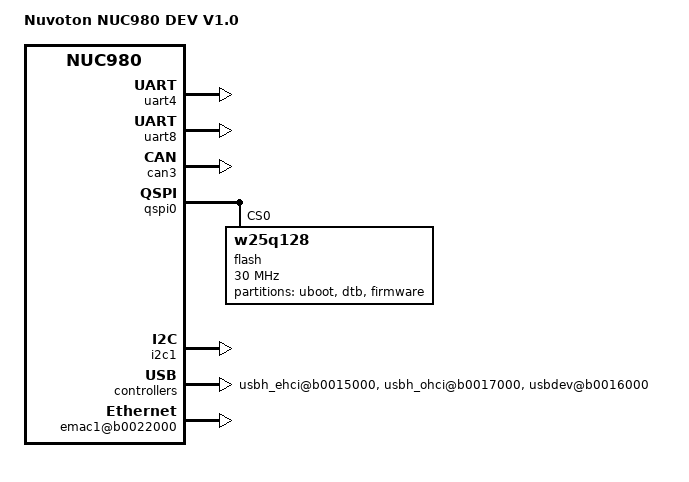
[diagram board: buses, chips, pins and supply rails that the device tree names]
/*
 * Device Tree Source for NUC980 DEV board
 *
 * Copyright (C) 2018 Nuvoton Technology Corp.
 *
 * The code contained herein is licensed under the GNU General Public
 * License. You may obtain a copy of the GNU General Public License
 * Version 2 or later at the following locations:
 *
 * http://www.opensource.org/licenses/gpl-license.html
 * http://www.gnu.org/copyleft/gpl.html
 */
/dts-v1/;
/include/ "nuc980.dtsi"

/ {
	model = "Nuvoton NUC980 DEV V1.0";
	compatible = "nuvoton,nuc980-dev-v1.0", "nuvoton,nuc980";

	chosen {
		bootargs = "root=/dev/ram0 console=ttyS0,115200n8 rdinit=/sbin/init mem=64M lpj=744448";
	};

	apb {	
		pinctrl: pinctrl@b0000000 {
			spi0 {
				pinctrl_spi0_PC: spi0_PC {
					nuvoton,pins =
						<2 0x5 0x1 0
						 2 0x6 0x1 0
						 2 0x4 0x1 0
						 2 0x8 0x1 0
						>;
				};
			};		
		
		};
		uart1: serial@b0071000 {
			status = "disabled";
		};

		uart2: serial@b0072000 {
			status = "disabled";
		};

		uart3: serial@b0073000 {
			status = "disabled";
		};

		uart4: serial@b0074000 {
			pinctrl-names = "default";
			pinctrl-0 = <&pinctrl_uart4_PC>;
			pdma-enable = <1>;
			status = "okay";
		};

		uart5: serial@b0075000 {
			status = "disabled";
		};

		uart6: serial@b0076000 {
			status = "disabled";
		};

		uart7: serial@b0077000 {
			status = "disabled";
		};

		uart8: serial@b0078000 {
			pinctrl-names = "default";
			pinctrl-0 = <&pinctrl_uart8_PC>;
			pdma-enable = <1>;
			status = "okay";
		};

		uart9: serial@b0079000 {
			status = "disabled";
		};

		can0: can@b00a0000 {
			status = "disabled";
		};

		can1: can@b00a1000 {
			status = "disabled";
		};

		can3: can@b00a3000 {
			pinctrl-0 = <&pinctrl_can3_PA>;
			status = "okay";
		};

		rtc: rtc@b0041000 {
			status = "disabled";
		};

		nadc: nadc@b0043000 {
			status = "disabled";
		};

		pwm0: pwm0@b0058000 {
			status = "disabled";
		};

		pwm1: pwm1@b0059000 {
			status = "disabled";
		};

		qspi0: qspi0@b0060000 {
			status = "okay";
			#address-cells = <1>;
			#size-cells = <0>;

			num_cs  = <2>;
			lsb	 = <0>;
			txneg   = <1>;
			rxneg   = <0>;
			clkpol  = <0>;
			divider = <4>;
			sleep   = <0>;
			txbitlen = <8>;
			bus_num	= <0>;

			flash: m25p80@0 {
				compatible = "w25q128";
				#address-cells = <1>;
				#size-cells = <1>;
				reg = <0>;
				spi-max-frequency = <30000000>;

				partition@0 {
					label = "uboot";
					reg = <0x00000000 0x00080000>;
				};
				partition@1 {
					label = "dtb";
					reg = <0x000C0000 0x00010000>;
				};
				partition@2 {
					label = "firmware";
					reg = <0x00100000 0x00F00000>;
				};
			};
		};

		spi0: spi0@b0061000 {
			status = "disabled";
			#address-cells = <1>;
			#size-cells = <0>;

			num_cs  = <2>;
			lsb	 = <0>;
			txneg   = <1>;
			rxneg   = <0>;
			clkpol  = <0>;
			divider = <4>;
			sleep   = <0>;
			txnum   = <0>;
			txbitlen = <8>;
			bus_num	= <1>;
			// pinctrl-names = "default";
			// pinctrl-0 = <&pinctrl_spi0_PC>;			

			spidev@0x01 {
				compatible = "spidev";
				spi-max-frequency = <30000000>;
				reg = <0>;
			};
		};

		spi1: spi1@b0062000 {
			status = "disabled";
			#address-cells = <1>;
			#size-cells = <0>;

			num_cs  = <2>;
			lsb	 = <0>;
			txneg   = <1>;
			rxneg   = <0>;
			clkpol  = <0>;
			divider = <4>;
			sleep   = <0>;
			txnum   = <0>;
			txbitlen = <8>;
			bus_num	= <2>;

			spidev@0x01 {
				compatible = "spidev";
				spi-max-frequency = <30000000>;
				reg = <0>;
			};
		};

		etimer0: etimer0@b0050000 {
			status = "disabled";
		};

		etimer1: etimer1@b0050100 {
			status = "disabled";
		};

		etimer2: etimer2@b0051000 {
			status = "disabled";
		};

		etimer3: etimer3@b0051100 {
			status = "disabled";
		};

		i2c0: i2c0@b0080000 {
			status = "disabled";

			nau8822: nau8822@1a {
				compatible = "nuvoton,nau8822";
				reg = <0x1a> ;
			};
		};

		i2c1: i2c1@b0081000 {
			status = "okay";
			pinctrl-0 = <&pinctrl_i2c1_PB>;
		};


		i2c2: i2c2@b0082000 {
			status = "disabled";
			pinctrl-0 = <&pinctrl_i2c2_PB>;
			cap0_nt99141@2a {
                                compatible = "nuvoton,cap0-nt99141";
                                reg = <0x2a>;
                        };
		};

	};

	ahb {

		usbh_ehci@b0015000 {
			pinctrl-0 = <>; /*disable PWREN and OVC*/
			ov_active = <1>;/*disable PWREN and OVC*/
			status = "okay";
		};
		usbh_ohci@b0017000{
			status = "okay";
			ov_active = <1>;/*disable PWREN and OVC*/
		};

		usbdev@b0016000 {
			status = "okay";
		};

		/*fmi@b0019000 {
			compatible = "nuvoton,nuc980-fmi", "nand";
			pinctrl-names = "default";
			pinctrl-0 = <&pinctrl_nand>;
			status = "disabled";
			#address-cells = <1>;
			#size-cells = <1>;

			partition@0x0 {
				label = "u-boot";
				reg = <0x00000000 0x0200000>;
			};

			partition@0x200000 {
				label = "Kernel";
				reg = <0x0200000 0x1400000>;
			};

			partition@0x1600000 {
				label = "user";
				reg = <0x1600000 0x6480000>;
			};
		};*/
		fmi@b0019000 {			
			status = "disabled";
		};

		/*sdh@b0018000 {
			status = "okay";
		};*/

		emac0@b0012000 {
			status = "disabled";
		};
		emac1@b0022000 {
			status = "okay";
		};
		cap0@b0024000 {
			model = "nt99141";
			status = "disabled";
		};
		cap1@b0014000 {
			model = "nt99141";
			status = "disabled";
		};
		dma@b0008000 {
			status = "okay";
		};

		i2s: i2s@b0020000 {
			status = "disabled";
		};

		i2s_pcm: i2s_pcm {
			status = "disabled";
		};

		sound {
			compatible = "nuvoton,nuc980-audio";
			i2s-controller = <&i2s>;
			i2s-platform = <&i2s_pcm>;
			status = "disabled";
		};
		ebi: ebi@b0010000 {
			status = "disabled";
		};
	};
};
